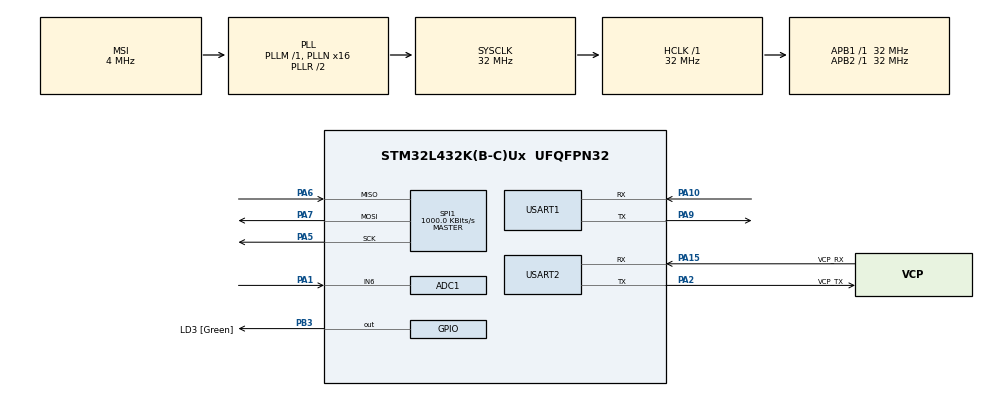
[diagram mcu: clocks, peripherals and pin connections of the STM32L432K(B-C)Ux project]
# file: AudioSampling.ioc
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ADC1.Channel-0\#ChannelRegularConversion=ADC_CHANNEL_6
ADC1.ExternalTrigConv=ADC_EXTERNALTRIG_T1_TRGO
ADC1.NbrOfConversionFlag=1
ADC1.OffsetNumber-0\#ChannelRegularConversion=ADC_OFFSET_NONE
ADC1.Rank-0\#ChannelRegularConversion=1
ADC1.Resolution=ADC_RESOLUTION_12B
ADC1.SamplingTime-0\#ChannelRegularConversion=ADC_SAMPLETIME_2CYCLES_5
ADC1.master=1
Dma.Request0=SPI1_TX
Dma.SPI1_TX.0.Direction=DMA_MEMORY_TO_PERIPH
Dma.SPI1_TX.0.Instance=DMA1_Channel3
Dma.SPI1_TX.0.MemDataAlignment=DMA_MDATAALIGN_BYTE
Dma.SPI1_TX.0.MemInc=DMA_MINC_ENABLE
Dma.SPI1_TX.0.Mode=DMA_NORMAL
Dma.SPI1_TX.0.PeriphDataAlignment=DMA_PDATAALIGN_BYTE
Dma.SPI1_TX.0.PeriphInc=DMA_PINC_DISABLE
Dma.SPI1_TX.0.Priority=DMA_PRIORITY_LOW
Mcu.Family=STM32L4
Mcu.Name=STM32L432K(B-C)Ux
Mcu.Package=UFQFPN32
NVIC.ADC1_IRQn=true\:0\:0\:false\:false\:true\:true\:true\:true
NVIC.DMA1_Channel3_IRQn=true\:0\:0\:false\:false\:true\:false\:true\:true
NVIC.PriorityGroup=NVIC_PRIORITYGROUP_4
NVIC.TIM1_BRK_TIM15_IRQn=true\:0\:0\:false\:false\:true\:true\:true\:true
NVIC.TIM1_CC_IRQn=true\:0\:0\:false\:false\:true\:true\:true\:true
NVIC.TIM1_TRG_COM_IRQn=true\:0\:0\:false\:false\:true\:true\:true\:true
NVIC.TIM1_UP_TIM16_IRQn=true\:0\:0\:false\:false\:true\:true\:true\:true
NVIC.USART1_IRQn=true\:0\:0\:false\:false\:true\:true\:true\:true
PA0.GPIO_Label=MCO [High speed clock in]
PA0.Mode=HSE-External-Clock-Source-for-LittleOrca
PA0.Signal=RCC_CK_IN
PA1.Signal=ADCx_IN6
PA10.Mode=Asynchronous
PA10.Signal=USART1_RX
PA13\ (JTMS-SWDIO).GPIO_Label=SWDIO
PA13\ (JTMS-SWDIO).Mode=Serial_Wire
PA13\ (JTMS-SWDIO).Signal=SYS_JTMS-SWDIO
PA14\ (JTCK-SWCLK).GPIO_Label=SWCLK
PA14\ (JTCK-SWCLK).Mode=Serial_Wire
PA14\ (JTCK-SWCLK).Signal=SYS_JTCK-SWCLK
PA15\ (JTDI).GPIO_Label=VCP_RX
PA15\ (JTDI).Mode=Asynchronous
PA15\ (JTDI).Signal=USART2_RX
PA2.GPIO_Label=VCP_TX
PA2.Mode=Asynchronous
PA2.Signal=USART2_TX
PA5.Mode=Full_Duplex_Master
PA5.Signal=SPI1_SCK
PA6.Mode=Full_Duplex_Master
PA6.Signal=SPI1_MISO
PA7.Mode=Full_Duplex_Master
PA7.Signal=SPI1_MOSI
PA9.Mode=Asynchronous
PA9.Signal=USART1_TX
PB3\ (JTDO-TRACESWO).GPIO_Label=LD3 [Green]
PB3\ (JTDO-TRACESWO).Signal=GPIO_Output
PC14-OSC32_IN\ (PC14).Mode=LSE-External-Oscillator
PC14-OSC32_IN\ (PC14).Signal=RCC_OSC32_IN
PC15-OSC32_OUT\ (PC15).Mode=LSE-External-Oscillator
PC15-OSC32_OUT\ (PC15).Signal=RCC_OSC32_OUT
ProjectManager.HeapSize=0x200
ProjectManager.StackSize=0x400
ProjectManager.TargetToolchain=STM32CubeIDE
RCC.ADCFreq_Value=32000000
RCC.AHBFreq_Value=32000000
RCC.APB1Freq_Value=32000000
RCC.APB1TimFreq_Value=32000000
RCC.APB2Freq_Value=32000000
RCC.APB2TimFreq_Value=32000000
RCC.CortexFreq_Value=32000000
RCC.HCLKFreq_Value=32000000
RCC.HSE_VALUE=8000000
RCC.HSI16_VALUE=16000000
RCC.HSI48_VALUE=48000000
RCC.HSI_VALUE=16000000
RCC.MSI_VALUE=4000000
RCC.PLLMUL=RCC_PLLMUL_4
RCC.PLLN=16
RCC.PLLSAI1N=16
RCC.SYSCLKFreq_VALUE=32000000
RCC.SYSCLKSource=RCC_SYSCLKSOURCE_PLLCLK
RCC.USBFreq_Value=32000000
RCC.VCOOutputFreq_Value=64000000
SH.ADCx_IN6.0=ADC1_IN6,IN6-Single-Ended
SPI1.BaudRatePrescaler=SPI_BAUDRATEPRESCALER_32
SPI1.CLKPolarity=SPI_POLARITY_LOW
SPI1.CalculateBaudRate=1000.0 KBits/s
SPI1.DataSize=SPI_DATASIZE_8BIT
SPI1.Direction=SPI_DIRECTION_2LINES
SPI1.Mode=SPI_MODE_MASTER
SPI1.NSSPMode=SPI_NSS_PULSE_ENABLE
SPI1.VirtualType=VM_MASTER
TIM1.Period=11
TIM1.Prescaler=31
TIM1.TIM_MasterOutputTrigger=TIM_TRGO_UPDATE
USART1.VirtualMode-Asynchronous=VM_ASYNC
USART2.VirtualMode-Asynchronous=VM_ASYNC
VP_TIM1_VS_ClockSourceINT.Mode=Internal
board=NUCLEO-L432KC

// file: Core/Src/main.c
/* USER CODE BEGIN Header */
/**
  ******************************************************************************
  * @file           : main.c
  * @brief          : Main program body
  ******************************************************************************
  * @attention
  *
  * Copyright (c) 2025 STMicroelectronics.
  * All rights reserved.
  *
  * This software is licensed under terms that can be found in the LICENSE file
  * in the root directory of this software component.
  * If no LICENSE file comes with this software, it is provided AS-IS.
  *
  ******************************************************************************
  */
/* USER CODE END Header */
#include "main.h"

/* USER CODE BEGIN Includes */
#include <stdio.h>
#include <stdlib.h>
/* USER CODE END Includes */

ADC_HandleTypeDef hadc1;

SPI_HandleTypeDef hspi1;
DMA_HandleTypeDef hdma_spi1_tx;

TIM_HandleTypeDef htim1;

UART_HandleTypeDef huart1;
UART_HandleTypeDef huart2;

void SystemClock_Config(void);
static void MX_GPIO_Init(void);
static void MX_DMA_Init(void);
static void MX_USART2_UART_Init(void);
static void MX_ADC1_Init(void);
static void MX_USART1_UART_Init(void);
static void MX_TIM1_Init(void);
static void MX_SPI1_Init(void);

/* USER CODE BEGIN 0 */

uint16_t data;
uint16_t prev_value[3] = {0};
uint16_t averaged_value = 0;

uint8_t sendSample[2] = {0};

void HAL_ADC_ConvCpltCallback(ADC_HandleTypeDef *hadc)
{
	data = HAL_ADC_GetValue(&hadc1);

	sendSample[0] = (data >> 8) & 0xFF;
	sendSample[1] = data & 0xFF;
	HAL_SPI_Transmit(&hspi1, sendSample, 2, HAL_MAX_DELAY);
}

/* USER CODE END 0 */

int main(void)
{

  /* MCU Configuration--------------------------------------------------------*/

  /* Reset of all peripherals, Initializes the Flash interface and the Systick. */
  HAL_Init();

  /* Configure the system clock */
  SystemClock_Config();

  /* Initialize all configured peripherals */
  MX_GPIO_Init();
  MX_DMA_Init();
  MX_USART2_UART_Init();
  MX_ADC1_Init();
  MX_USART1_UART_Init();
  MX_TIM1_Init();
  MX_SPI1_Init();
  /* USER CODE BEGIN 2 */

  HAL_ADC_Start_IT(&hadc1);
  HAL_TIM_Base_Start(&htim1);
  /* USER CODE END 2 */

  /* Infinite loop */
  /* USER CODE BEGIN WHILE */

  while (1)
  {
	  //HAL_ADC_PollForConversion(&hadc1, HAL_MAX_DELAY);

//	  uint16_t* sampledValue = (uint16_t*)malloc(255 * sizeof(uint16_t));
	  /*data[0] = HAL_ADC_GetValue(&hadc1);
	  //HAL_GPIO_WritePin(LD3_GPIO_Port, LD3_Pin,1);
	  averaged_value = (prev_value[0] + prev_value[1] + prev_value[2] +data[0])/4;
	  prev_value[2] = prev_value[1];
	  prev_value[1] = prev_value[0];
	  prev_value[0] = data[0];
	  HAL_SPI_Transmit(&hspi1, (uint8_t *)&averaged_value, 1, HAL_MAX_DELAY);
	  //HAL_SPI_Transmit(&hspi1, (uint8_t*)data[0], 2, HAL_MAX_DELAY);

	  HAL_ADC_Start(&hadc1);*/

	  //HAL_GPIO_WritePin(LD3_GPIO_Port, LD3_Pin,0);

	  //HAL_ADC_Start(&hadc1);
    /* USER CODE END WHILE */

  }
}

void SystemClock_Config(void)
{
  RCC_OscInitTypeDef RCC_OscInitStruct = {0};
  RCC_ClkInitTypeDef RCC_ClkInitStruct = {0};

  /** Configure the main internal regulator output voltage
  */
  if (HAL_PWREx_ControlVoltageScaling(PWR_REGULATOR_VOLTAGE_SCALE1) != HAL_OK)
  {
    Error_Handler();
  }

  /** Configure LSE Drive Capability
  */
  HAL_PWR_EnableBkUpAccess();
  __HAL_RCC_LSEDRIVE_CONFIG(RCC_LSEDRIVE_LOW);

  /** Initializes the RCC Oscillators according to the specified parameters
  * in the RCC_OscInitTypeDef structure.
  */
  RCC_OscInitStruct.OscillatorType = RCC_OSCILLATORTYPE_LSE|RCC_OSCILLATORTYPE_MSI;
  RCC_OscInitStruct.LSEState = RCC_LSE_ON;
  RCC_OscInitStruct.MSIState = RCC_MSI_ON;
  RCC_OscInitStruct.MSICalibrationValue = 0;
  RCC_OscInitStruct.MSIClockRange = RCC_MSIRANGE_6;
  RCC_OscInitStruct.PLL.PLLState = RCC_PLL_ON;
  RCC_OscInitStruct.PLL.PLLSource = RCC_PLLSOURCE_MSI;
  RCC_OscInitStruct.PLL.PLLM = 1;
  RCC_OscInitStruct.PLL.PLLN = 16;
  RCC_OscInitStruct.PLL.PLLP = RCC_PLLP_DIV7;
  RCC_OscInitStruct.PLL.PLLQ = RCC_PLLQ_DIV2;
  RCC_OscInitStruct.PLL.PLLR = RCC_PLLR_DIV2;
  if (HAL_RCC_OscConfig(&RCC_OscInitStruct) != HAL_OK)
  {
    Error_Handler();
  }

  /** Initializes the CPU, AHB and APB buses clocks
  */
  RCC_ClkInitStruct.ClockType = RCC_CLOCKTYPE_HCLK|RCC_CLOCKTYPE_SYSCLK
                              |RCC_CLOCKTYPE_PCLK1|RCC_CLOCKTYPE_PCLK2;
  RCC_ClkInitStruct.SYSCLKSource = RCC_SYSCLKSOURCE_PLLCLK;
  RCC_ClkInitStruct.AHBCLKDivider = RCC_SYSCLK_DIV1;
  RCC_ClkInitStruct.APB1CLKDivider = RCC_HCLK_DIV1;
  RCC_ClkInitStruct.APB2CLKDivider = RCC_HCLK_DIV1;

  if (HAL_RCC_ClockConfig(&RCC_ClkInitStruct, FLASH_LATENCY_1) != HAL_OK)
  {
    Error_Handler();
  }

  /** Enable MSI Auto calibration
  */
  HAL_RCCEx_EnableMSIPLLMode();
}

static void MX_ADC1_Init(void)
{

  ADC_ChannelConfTypeDef sConfig = {0};

  /** Common config
  */
  hadc1.Instance = ADC1;
  hadc1.Init.ClockPrescaler = ADC_CLOCK_ASYNC_DIV1;
  hadc1.Init.Resolution = ADC_RESOLUTION_12B;
  hadc1.Init.DataAlign = ADC_DATAALIGN_RIGHT;
  hadc1.Init.ScanConvMode = ADC_SCAN_DISABLE;
  hadc1.Init.EOCSelection = ADC_EOC_SINGLE_CONV;
  hadc1.Init.LowPowerAutoWait = DISABLE;
  hadc1.Init.ContinuousConvMode = DISABLE;
  hadc1.Init.NbrOfConversion = 1;
  hadc1.Init.DiscontinuousConvMode = DISABLE;
  hadc1.Init.ExternalTrigConv = ADC_EXTERNALTRIG_T1_TRGO;
  hadc1.Init.ExternalTrigConvEdge = ADC_EXTERNALTRIGCONVEDGE_RISING;
  hadc1.Init.DMAContinuousRequests = DISABLE;
  hadc1.Init.Overrun = ADC_OVR_DATA_PRESERVED;
  hadc1.Init.OversamplingMode = DISABLE;
  if (HAL_ADC_Init(&hadc1) != HAL_OK)
  {
    Error_Handler();
  }

  /** Configure Regular Channel
  */
  sConfig.Channel = ADC_CHANNEL_6;
  sConfig.Rank = ADC_REGULAR_RANK_1;
  sConfig.SamplingTime = ADC_SAMPLETIME_2CYCLES_5;
  sConfig.SingleDiff = ADC_SINGLE_ENDED;
  sConfig.OffsetNumber = ADC_OFFSET_NONE;
  sConfig.Offset = 0;
  if (HAL_ADC_ConfigChannel(&hadc1, &sConfig) != HAL_OK)
  {
    Error_Handler();
  }

}

static void MX_SPI1_Init(void)
{

  /* SPI1 parameter configuration*/
  hspi1.Instance = SPI1;
  hspi1.Init.Mode = SPI_MODE_MASTER;
  hspi1.Init.Direction = SPI_DIRECTION_2LINES;
  hspi1.Init.DataSize = SPI_DATASIZE_8BIT;
  hspi1.Init.CLKPolarity = SPI_POLARITY_LOW;
  hspi1.Init.CLKPhase = SPI_PHASE_1EDGE;
  hspi1.Init.NSS = SPI_NSS_SOFT;
  hspi1.Init.BaudRatePrescaler = SPI_BAUDRATEPRESCALER_32;
  hspi1.Init.FirstBit = SPI_FIRSTBIT_MSB;
  hspi1.Init.TIMode = SPI_TIMODE_DISABLE;
  hspi1.Init.CRCCalculation = SPI_CRCCALCULATION_DISABLE;
  hspi1.Init.CRCPolynomial = 7;
  hspi1.Init.CRCLength = SPI_CRC_LENGTH_DATASIZE;
  hspi1.Init.NSSPMode = SPI_NSS_PULSE_ENABLE;
  if (HAL_SPI_Init(&hspi1) != HAL_OK)
  {
    Error_Handler();
  }

}

static void MX_TIM1_Init(void)
{

  TIM_ClockConfigTypeDef sClockSourceConfig = {0};
  TIM_MasterConfigTypeDef sMasterConfig = {0};

  htim1.Instance = TIM1;
  htim1.Init.Prescaler = 31;
  htim1.Init.CounterMode = TIM_COUNTERMODE_UP;
  htim1.Init.Period = 11;
  htim1.Init.ClockDivision = TIM_CLOCKDIVISION_DIV1;
  htim1.Init.RepetitionCounter = 0;
  htim1.Init.AutoReloadPreload = TIM_AUTORELOAD_PRELOAD_DISABLE;
  if (HAL_TIM_Base_Init(&htim1) != HAL_OK)
  {
    Error_Handler();
  }
  sClockSourceConfig.ClockSource = TIM_CLOCKSOURCE_INTERNAL;
  if (HAL_TIM_ConfigClockSource(&htim1, &sClockSourceConfig) != HAL_OK)
  {
    Error_Handler();
  }
  sMasterConfig.MasterOutputTrigger = TIM_TRGO_UPDATE;
  sMasterConfig.MasterOutputTrigger2 = TIM_TRGO2_RESET;
  sMasterConfig.MasterSlaveMode = TIM_MASTERSLAVEMODE_DISABLE;
  if (HAL_TIMEx_MasterConfigSynchronization(&htim1, &sMasterConfig) != HAL_OK)
  {
    Error_Handler();
  }

}

static void MX_USART1_UART_Init(void)
{

  huart1.Instance = USART1;
  huart1.Init.BaudRate = 115200;
  huart1.Init.WordLength = UART_WORDLENGTH_8B;
  huart1.Init.StopBits = UART_STOPBITS_1;
  huart1.Init.Parity = UART_PARITY_NONE;
  huart1.Init.Mode = UART_MODE_TX_RX;
  huart1.Init.HwFlowCtl = UART_HWCONTROL_NONE;
  huart1.Init.OverSampling = UART_OVERSAMPLING_16;
  huart1.Init.OneBitSampling = UART_ONE_BIT_SAMPLE_DISABLE;
  huart1.AdvancedInit.AdvFeatureInit = UART_ADVFEATURE_NO_INIT;
  if (HAL_UART_Init(&huart1) != HAL_OK)
  {
    Error_Handler();
  }

}

static void MX_USART2_UART_Init(void)
{

  huart2.Instance = USART2;
  huart2.Init.BaudRate = 115200;
  huart2.Init.WordLength = UART_WORDLENGTH_8B;
  huart2.Init.StopBits = UART_STOPBITS_1;
  huart2.Init.Parity = UART_PARITY_NONE;
  huart2.Init.Mode = UART_MODE_TX_RX;
  huart2.Init.HwFlowCtl = UART_HWCONTROL_NONE;
  huart2.Init.OverSampling = UART_OVERSAMPLING_16;
  huart2.Init.OneBitSampling = UART_ONE_BIT_SAMPLE_DISABLE;
  huart2.AdvancedInit.AdvFeatureInit = UART_ADVFEATURE_NO_INIT;
  if (HAL_UART_Init(&huart2) != HAL_OK)
  {
    Error_Handler();
  }

}

static void MX_DMA_Init(void)
{

  /* DMA controller clock enable */
  __HAL_RCC_DMA1_CLK_ENABLE();

  /* DMA interrupt init */
  /* DMA1_Channel3_IRQn interrupt configuration */
  HAL_NVIC_SetPriority(DMA1_Channel3_IRQn, 0, 0);
  HAL_NVIC_EnableIRQ(DMA1_Channel3_IRQn);

}

static void MX_GPIO_Init(void)
{
  GPIO_InitTypeDef GPIO_InitStruct = {0};

  /* GPIO Ports Clock Enable */
  __HAL_RCC_GPIOC_CLK_ENABLE();
  __HAL_RCC_GPIOA_CLK_ENABLE();
  __HAL_RCC_GPIOB_CLK_ENABLE();

  /*Configure GPIO pin Output Level */
  HAL_GPIO_WritePin(LD3_GPIO_Port, LD3_Pin, GPIO_PIN_RESET);

  /*Configure GPIO pin : LD3_Pin */
  GPIO_InitStruct.Pin = LD3_Pin;
  GPIO_InitStruct.Mode = GPIO_MODE_OUTPUT_PP;
  GPIO_InitStruct.Pull = GPIO_NOPULL;
  GPIO_InitStruct.Speed = GPIO_SPEED_FREQ_LOW;
  HAL_GPIO_Init(LD3_GPIO_Port, &GPIO_InitStruct);

  /* USER CODE BEGIN MX_GPIO_Init_2 */
  GPIO_InitStruct.Pin = GPIO_PIN_5 | GPIO_PIN_6 | GPIO_PIN_7;
  GPIO_InitStruct.Mode = GPIO_MODE_AF_PP;
  GPIO_InitStruct.Pull = GPIO_NOPULL;
  GPIO_InitStruct.Speed = GPIO_SPEED_FREQ_HIGH;
  HAL_GPIO_Init(GPIOA, &GPIO_InitStruct);
  /* USER CODE END MX_GPIO_Init_2 */
}

void Error_Handler(void)
{
  __disable_irq();
  while (1)
  {
  }
}
